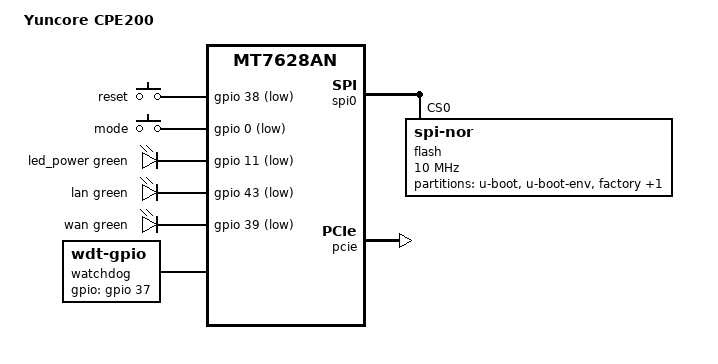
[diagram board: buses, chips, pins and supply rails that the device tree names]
#include "mt7628an.dtsi"

#include <dt-bindings/gpio/gpio.h>
#include <dt-bindings/input/input.h>
#include <dt-bindings/leds/common.h>

/ {
	compatible = "yuncore,cpe200", "mediatek,mt7628an-soc";
	model = "Yuncore CPE200";

	chosen {
		bootargs = "console=ttyS0,57600";
	};

	aliases {
		label-mac = &ethernet;
		led-boot = &led_power;
		led-failsafe = &led_power;
		led-running = &led_power;
		led-upgrade = &led_power;
	};

	keys {
		compatible = "gpio-keys";

		reset {
			label = "reset";
			gpios = <&gpio 38 GPIO_ACTIVE_LOW>;
			linux,code = <KEY_RESTART>;
		};

		mode {
			label = "mode";
			linux,input-type = <EV_SW>;
			linux,code = <BTN_0>;
			gpios = <&gpio 0 GPIO_ACTIVE_LOW>;
			debounce-interval = <60>;
		};
	};

	leds {
		compatible = "gpio-leds";

		led_power: power {
			function = LED_FUNCTION_POWER;
			color = <LED_COLOR_ID_GREEN>;
			gpios = <&gpio 11 GPIO_ACTIVE_LOW>;
		};

		lan {
			function = LED_FUNCTION_LAN;
			color = <LED_COLOR_ID_GREEN>;
			gpios = <&gpio 43 GPIO_ACTIVE_LOW>;
		};

		wan {
			function = LED_FUNCTION_WAN;
			color = <LED_COLOR_ID_GREEN>;
			gpios = <&gpio 39 GPIO_ACTIVE_LOW>;
		};
	};

	watchdog {
		compatible = "linux,wdt-gpio";
		gpios = <&gpio 37 GPIO_ACTIVE_HIGH>;
		hw_algo = "toggle";
		hw_margin_ms = <20000>;
		always-running;
	};
};

&spi0 {
	status = "okay";

	flash@0 {
		compatible = "jedec,spi-nor";
		reg = <0>;
		spi-max-frequency = <10000000>;

		partitions {
			compatible = "fixed-partitions";
			#address-cells = <1>;
			#size-cells = <1>;

			partition@0 {
				label = "u-boot";
				reg = <0x0 0x30000>;
				read-only;
			};

			partition@30000 {
				label = "u-boot-env";
				reg = <0x30000 0x10000>;
				read-only;
			};

			partition@40000 {
				label = "factory";
				reg = <0x40000 0x10000>;
				read-only;

				nvmem-layout {
					compatible = "fixed-layout";
					#address-cells = <1>;
					#size-cells = <1>;

					macaddr_factory_4: macaddr@4 {
						reg = <0x4 0x6>;
					};

					eeprom_factory_8000: eeprom@8000 {
						reg = <0x8000 0x600>;
					};

					macaddr_factory_8004: macaddr@8004 {
						reg = <0x8004 0x6>;
					};
				};
			};

			partition@50000 {
				compatible = "denx,uimage";
				label = "firmware";
				reg = <0x50000 0x7b0000>;
			};
		};
	};
};

&ethernet {
	nvmem-cells = <&macaddr_factory_4>;
	nvmem-cell-names = "mac-address";
};

&esw {
	mediatek,portmap = <0x2f>;
};

&pcie {
	status = "okay";
};

&pcie0 {
	mt76@0,0 {
		reg = <0x0000 0 0 0 0>;
		ieee80211-freq-limit = <5000000 6000000>;
		nvmem-cells = <&eeprom_factory_8000>, <&macaddr_factory_8004>;
		nvmem-cell-names = "eeprom", "mac-address";

		led {
			led-sources = <0>;
			led-active-low;
		};
	};
};

&state_default {
	gpio {
		groups = "pwm0", "i2c", "refclk", "wdt", "i2s", "spi cs1",
			 "spis", "gpio", "p0led_an", "p1led_an", "p2led_an",
			 "p3led_an", "p4led_an", "wled_kn", "p0led_kn",
			 "p1led_kn", "p2led_kn", "p3led_kn", "p4led_kn", "wled_an";
		function = "gpio";
	};
};
